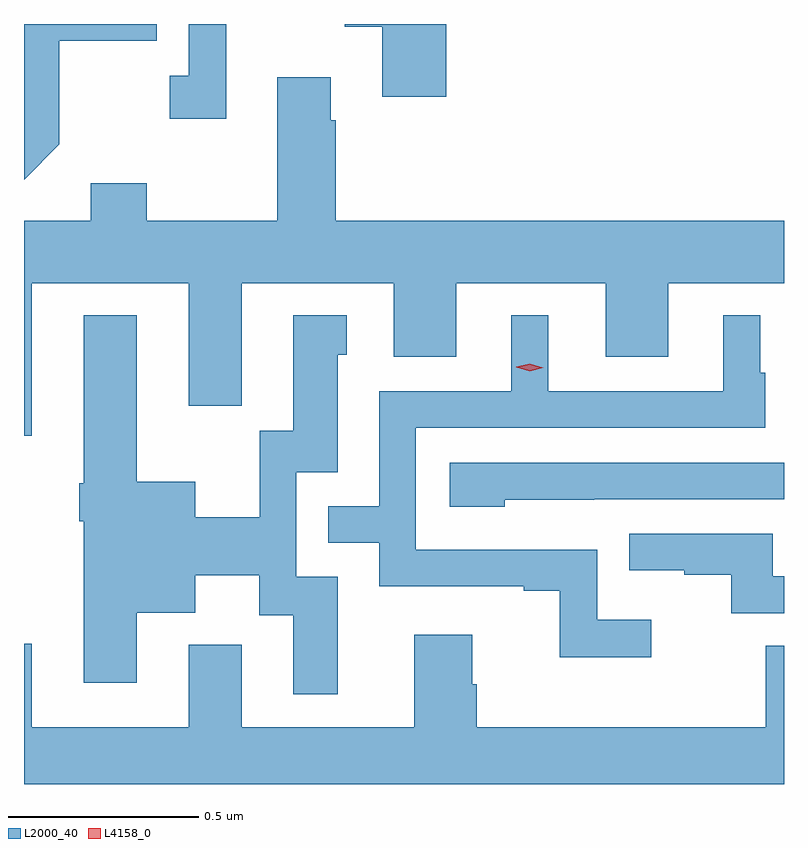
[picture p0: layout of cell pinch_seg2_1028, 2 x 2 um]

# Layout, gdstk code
import gdstk
lib = gdstk.Library(unit=1e-6, precision=1e-09)
def P(c, l, *ps):  # polygons
    for p in ps: c.add(gdstk.Polygon(p, *l))
L2000_40 = (2000, 40)
L4158_0 = (4158, 0)

pinch_seg2_1028 = lib.new_cell('pinch_seg2_1028')
P(pinch_seg2_1028, L2000_40, [(158.041,586.729),(158.041,587.002),(158.297,587.002),(158.297,587.046),(157.948,587.046),(157.948,586.636)],
  [(158.48,587.046),(158.382,587.046),(158.382,586.91),(158.331,586.91),(158.331,586.797),(158.48,586.797)],
  [(159.059,587.046),(158.792,587.046),(158.792,587.039),(158.891,587.039),(158.891,586.854),(159.059,586.854)],
  [(157.969,586.364),(158.381,586.364),(158.381,586.041),(158.521,586.041),(158.521,586.364),(158.921,586.364),(158.921,586.17),(159.085,586.17),(159.085,586.364),(159.479,586.364),(159.479,586.17),(159.643,586.17),(159.643,586.364),(159.948,586.364),(159.948,586.528),(158.768,586.528),(158.768,586.793),(158.755,586.793),(158.755,586.906),(158.615,586.906),(158.615,586.528),(158.271,586.528),(158.271,586.627),(158.123,586.627),(158.123,586.528),(157.948,586.528),(157.948,585.963),(157.969,585.963)],
  [(159.598,585.478),(159.456,585.478),(159.456,585.663),(158.979,585.663),(158.979,585.984),(159.898,585.984),(159.898,586.128),(159.886,586.128),(159.886,586.279),(159.788,586.279),(159.788,586.08),(159.328,586.08),(159.328,586.279),(159.23,586.279),(159.23,586.08),(158.883,586.08),(158.883,585.777),(158.749,585.777),(158.749,585.681),(158.883,585.681),(158.883,585.567),(159.263,585.567),(159.263,585.555),(159.358,585.555),(159.358,585.38),(159.598,585.38)],
  [(158.773,585.591),(158.664,585.591),(158.664,585.867),(158.773,585.867),(158.773,586.176),(158.797,586.176),(158.797,586.279),(158.657,586.279),(158.657,585.975),(158.568,585.975),(158.568,585.748),(158.398,585.748),(158.398,585.841),(158.245,585.841),(158.245,586.279),(158.105,586.279),(158.105,585.837),(158.093,585.837),(158.093,585.737),(158.105,585.737),(158.105,585.312),(158.245,585.312),(158.245,585.497),(158.398,585.497),(158.398,585.596),(158.567,585.596),(158.567,585.49),(158.657,585.49),(158.657,585.282),(158.773,585.282)],
  [(159.213,585.794),(159.449,585.794),(159.449,585.795),(159.948,585.795),(159.948,585.891),(159.069,585.891),(159.069,585.776),(159.213,585.776)],
  [(159.948,585.593),(159.919,585.593),(159.919,585.705),(159.541,585.705),(159.541,585.608),(159.685,585.608),(159.685,585.597),(159.809,585.597),(159.809,585.495),(159.948,585.495)],
  [(159.948,585.41),(159.9,585.41),(159.9,585.196),(159.14,585.196),(159.14,585.309),(159.127,585.309),(159.127,585.439),(158.975,585.439),(158.975,585.196),(158.521,585.196),(158.521,585.412),(158.381,585.412),(158.381,585.196),(157.969,585.196),(157.969,585.415),(157.948,585.415),(157.948,585.046),(159.948,585.046)])
P(pinch_seg2_1028, L4158_0, [(159.279,586.132),(159.244,586.143),(159.243,586.143),(159.244,586.144),(159.279,586.152),(159.315,586.141),(159.315,586.141),(159.315,586.141)])

lib.write_gds('pinch_seg2_1028.gds')
